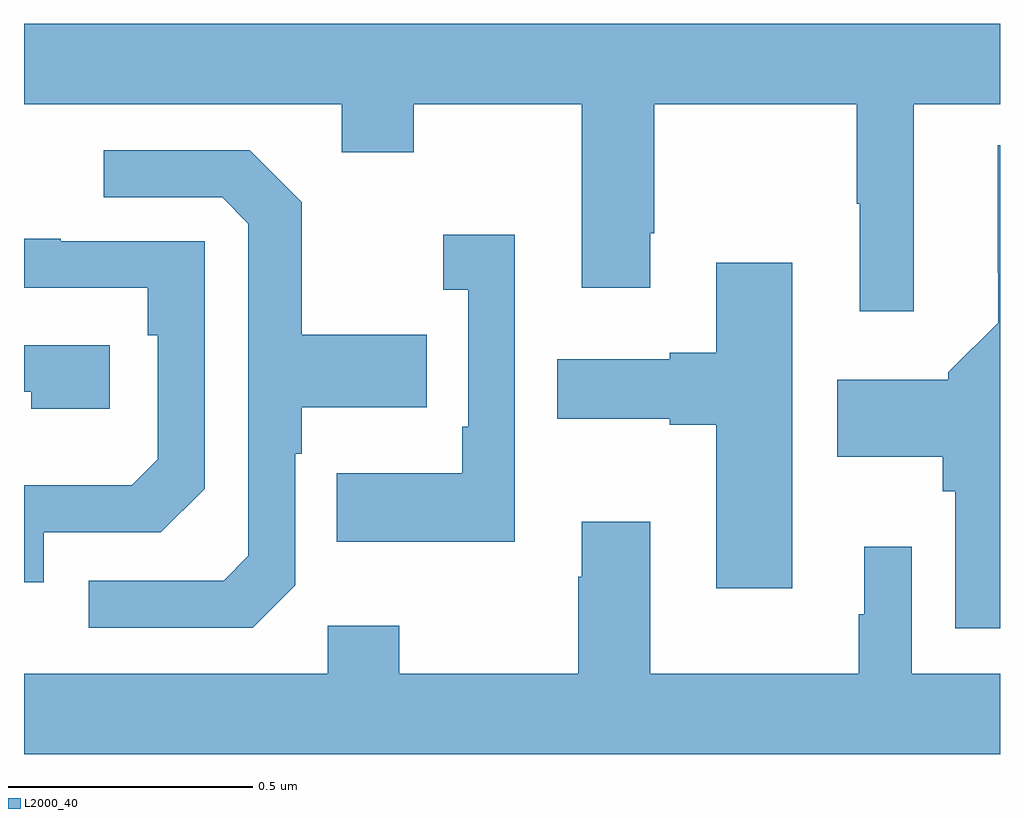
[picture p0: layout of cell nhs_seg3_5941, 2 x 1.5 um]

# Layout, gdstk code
import gdstk
lib = gdstk.Library(unit=1e-6, precision=1e-09)
def P(c, l, *ps):  # polygons
    for p in ps: c.add(gdstk.Polygon(p, *l))
L2000_40 = (2000, 40)

nhs_seg3_5941 = lib.new_cell('nhs_seg3_5941')
P(nhs_seg3_5941, L2000_40, [(186.823,684.932),(187,684.932),(187,685.096),(185,685.096),(185,684.932),(185.651,684.932),(185.651,684.833),(185.799,684.833),(185.799,684.932),(186.143,684.932),(186.143,684.555),(186.283,684.555),(186.283,684.667),(186.291,684.667),(186.291,684.932),(186.706,684.932),(186.706,684.728),(186.713,684.728),(186.713,684.507),(186.823,684.507)],
  [(187,684.847),(186.995,684.847),(186.995,684.586),(186.996,684.586),(186.996,684.484),(186.894,684.382),(186.894,684.367),(186.666,684.367),(186.666,684.209),(186.883,684.209),(186.883,684.138),(186.908,684.138),(186.908,683.858),(187,683.858)],
  [(185.556,683.946),(185.556,684.215),(185.569,684.215),(185.569,684.311),(185.825,684.311),(185.825,684.459),(185.569,684.459),(185.569,684.731),(185.463,684.837),(185.163,684.837),(185.163,684.741),(185.406,684.741),(185.46,684.687),(185.46,684.006),(185.409,683.955),(185.133,683.955),(185.133,683.859),(185.469,683.859)],
  [(186.006,684.664),(185.859,684.664),(185.859,684.551),(185.91,684.551),(185.91,684.271),(185.898,684.271),(185.898,684.175),(185.641,684.175),(185.641,684.035),(186.006,684.035)],
  [(185.04,684.054),(185.28,684.054),(185.37,684.144),(185.37,684.651),(185.075,684.651),(185.075,684.656),(185,684.656),(185,684.555),(185.254,684.555),(185.254,684.458),(185.274,684.458),(185.274,684.204),(185.221,684.151),(185,684.151),(185,683.952),(185.04,683.952)],
  [(186.574,684.607),(186.419,684.607),(186.419,684.422),(186.323,684.422),(186.323,684.409),(186.093,684.409),(186.093,684.287),(186.323,684.287),(186.323,684.275),(186.419,684.275),(186.419,683.94),(186.574,683.94)],
  [(185.176,684.438),(185,684.438),(185,684.342),(185.015,684.342),(185.015,684.308),(185.176,684.308)],
  [(187,683.764),(186.819,683.764),(186.819,684.025),(186.722,684.025),(186.722,683.886),(186.711,683.886),(186.711,683.764),(186.283,683.764),(186.283,684.076),(186.143,684.076),(186.143,683.963),(186.136,683.963),(186.136,683.764),(185.769,683.764),(185.769,683.863),(185.622,683.863),(185.622,683.764),(185,683.764),(185,683.6),(187,683.6)])

lib.write_gds('nhs_seg3_5941.gds')
